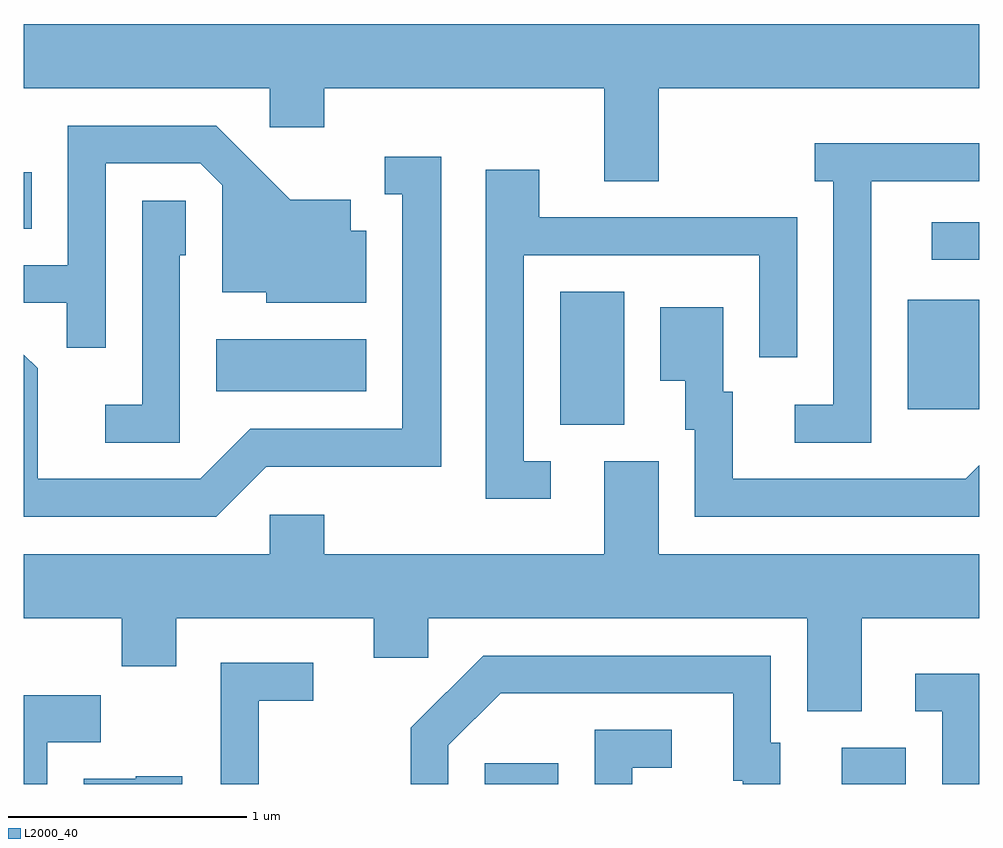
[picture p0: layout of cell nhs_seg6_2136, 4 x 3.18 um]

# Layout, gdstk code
import gdstk
lib = gdstk.Library(unit=1e-6, precision=1e-09)
def R(c, l, rs):  # rectangles x0, y0, x1, y1
    for r in rs: c.add(gdstk.rectangle(r[:2], r[2:], *l))
def P(c, l, *ps):  # polygons
    for p in ps: c.add(gdstk.Polygon(p, *l))
L2000_40 = (2000, 40)

nhs_seg6_2136 = lib.new_cell('nhs_seg6_2136')
R(nhs_seg6_2136, L2000_40, [(251.541,1618.162,251.849,1618.249), (253.036,1618.162,253.304,1618.314), (251.856,1619.666,252.124,1620.224), (253.311,1619.731,253.611,1620.189), (250.416,1619.806,251.044,1620.024), (253.413,1620.356,253.611,1620.514), (249.611,1620.486,249.644,1620.723)])
P(nhs_seg6_2136, L2000_40, [(252.269,1621.076),(253.611,1621.076),(253.611,1621.344),(249.611,1621.344),(249.611,1621.076),(250.641,1621.076),(250.641,1620.911),(250.869,1620.911),(250.869,1621.076),(252.041,1621.076),(252.041,1620.686),(252.269,1620.686)],
  [(249.954,1620.761),(250.349,1620.761),(250.441,1620.669),(250.441,1620.221),(250.626,1620.221),(250.626,1620.176),(251.044,1620.176),(251.044,1620.479),(250.979,1620.479),(250.979,1620.609),(250.727,1620.609),(250.417,1620.919),(249.796,1620.919),(249.796,1620.334),(249.611,1620.334),(249.611,1620.176),(249.791,1620.176),(249.791,1619.988),(249.954,1619.988)],
  [(253.159,1620.686),(253.611,1620.686),(253.611,1620.844),(252.923,1620.844),(252.923,1620.686),(253.001,1620.686),(253.001,1619.749),(252.838,1619.749),(252.838,1619.591),(253.159,1619.591)],
  [(250.627,1619.491),(251.359,1619.491),(251.359,1620.789),(251.123,1620.789),(251.123,1620.631),(251.196,1620.631),(251.196,1619.649),(250.559,1619.649),(250.349,1619.439),(249.669,1619.439),(249.669,1619.902),(249.611,1619.96),(249.611,1619.281),(250.417,1619.281)],
  [(251.818,1619.514),(251.704,1619.514),(251.704,1620.376),(252.691,1620.376),(252.691,1619.948),(252.849,1619.948),(252.849,1620.534),(251.769,1620.534),(251.769,1620.734),(251.546,1620.734),(251.546,1619.356),(251.818,1619.356)],
  [(250.264,1620.376),(250.289,1620.376),(250.289,1620.604),(250.106,1620.604),(250.106,1619.749),(249.953,1619.749),(249.953,1619.591),(250.264,1619.591)],
  [(253.611,1619.496),(253.554,1619.439),(252.579,1619.439),(252.579,1619.804),(252.539,1619.804),(252.539,1620.159),(252.276,1620.159),(252.276,1619.851),(252.381,1619.851),(252.381,1619.646),(252.421,1619.646),(252.421,1619.281),(253.611,1619.281)],
  [(253.119,1618.856),(253.611,1618.856),(253.611,1619.124),(252.269,1619.124),(252.269,1619.514),(252.041,1619.514),(252.041,1619.124),(250.869,1619.124),(250.869,1619.289),(250.641,1619.289),(250.641,1619.124),(249.611,1619.124),(249.611,1618.856),(250.021,1618.856),(250.021,1618.656),(250.249,1618.656),(250.249,1618.856),(251.076,1618.856),(251.076,1618.691),(251.304,1618.691),(251.304,1618.856),(252.891,1618.856),(252.891,1618.466),(253.119,1618.466)],
  [(251.389,1618.324),(251.607,1618.541),(252.581,1618.541),(252.581,1618.176),(252.621,1618.176),(252.621,1618.162),(252.779,1618.162),(252.779,1618.334),(252.739,1618.334),(252.739,1618.699),(251.534,1618.699),(251.231,1618.397),(251.231,1618.162),(251.389,1618.162)],
  [(250.594,1618.511),(250.823,1618.511),(250.823,1618.669),(250.436,1618.669),(250.436,1618.162),(250.594,1618.162)],
  [(253.611,1618.624),(253.343,1618.624),(253.343,1618.466),(253.456,1618.466),(253.456,1618.162),(253.611,1618.162)],
  [(249.709,1618.336),(249.934,1618.336),(249.934,1618.534),(249.611,1618.534),(249.611,1618.162),(249.709,1618.162)],
  [(252.159,1618.231),(252.323,1618.231),(252.323,1618.389),(252.001,1618.389),(252.001,1618.162),(252.159,1618.162)],
  [(250.274,1618.194),(250.08,1618.194),(250.08,1618.184),(249.861,1618.184),(249.861,1618.162),(250.274,1618.162)])

lib.write_gds('nhs_seg6_2136.gds')
